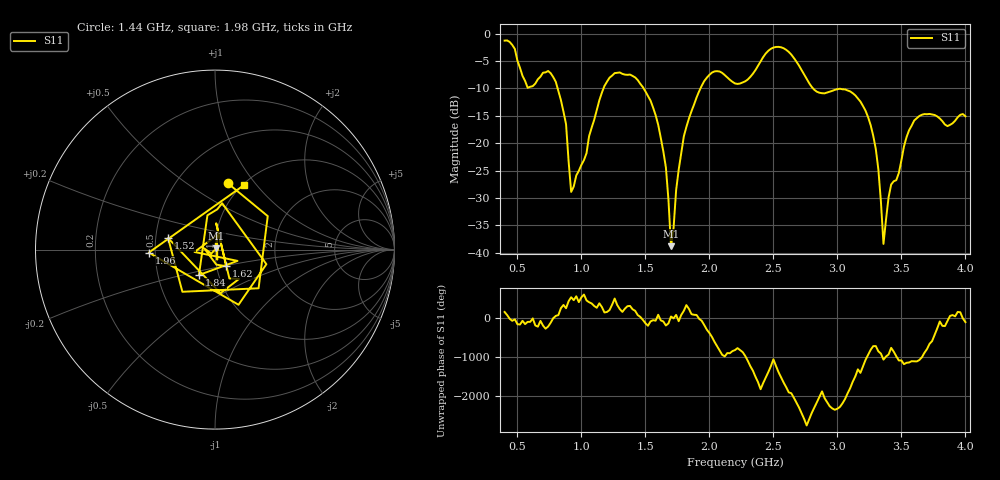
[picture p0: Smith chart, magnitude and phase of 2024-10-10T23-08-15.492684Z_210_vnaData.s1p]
! Created with skrf (http://scikit-rf.org).
# Hz S RI R 50.0
!freq ReS11 ImS11
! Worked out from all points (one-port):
!   181 points, 400 MHz to 4 GHz, reference 50 ohm
!   lowest |S11| = -38.8 dB at 1.7 GHz (marker M1), VSWR 1.02, Z = 50.8 + j0.802 ohm
!   |S11| at or under -10 dB: 814 MHz to 1.173 GHz (358.8 MHz wide, 36.1 % of centre); 1.486 GHz to 1.93 GHz (444.6 MHz wide, 26 % of centre); 2.81 GHz to end of sweep
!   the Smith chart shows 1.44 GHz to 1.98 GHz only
!   S11 on the Smith chart (normalised r, x): 1.44 GHz: 0.86, +0.74; 1.52 GHz: 0.58, +0.08; 1.62 GHz: 1.11, -0.21; 1.84 GHz: 0.81, -0.23; 1.96 GHz: 0.46, -0.02; 1.98 GHz: 1.02, +0.87
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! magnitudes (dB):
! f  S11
! 400 MHz  -1.3
! 580 MHz  -9.9
! 760 MHz  -7.2
! 860 MHz  -14.3
! 880 MHz  -16.5
! 920 MHz  -28.9
! 1.18 GHz  -9.6
! 1.3 GHz  -7.1
! 1.44 GHz  -8.5
! 1.52 GHz  -11.4
! 1.62 GHz  -19.0
! 1.66 GHz  -24.4
! 1.7 GHz  -38.8
! 1.76 GHz  -24.9
! 1.84 GHz  -15.5
! 1.96 GHz  -8.7
! 1.98 GHz  -8.1
! 2.2 GHz  -9.1
! 2.5 GHz  -2.5
! 2.66 GHz  -4.5
! 2.84 GHz  -10.6
! 3.1 GHz  -10.6
! 3.28 GHz  -18.7
! 3.32 GHz  -24.8
! 3.36 GHz  -38.4
! 3.42 GHz  -27.6
! 3.56 GHz  -17.7
! 4 GHz  -15.1
